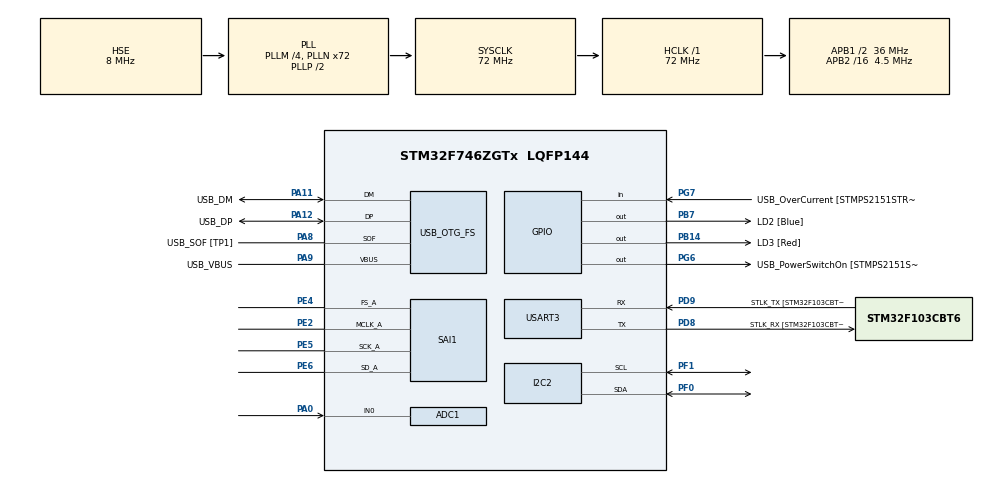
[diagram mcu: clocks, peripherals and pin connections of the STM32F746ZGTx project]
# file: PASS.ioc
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ADC1.Channel-1\#ChannelRegularConversion=ADC_CHANNEL_0
ADC1.ClockPrescaler=ADC_CLOCK_SYNC_PCLK_DIV4
ADC1.ContinuousConvMode=ENABLE
ADC1.DMAContinuousRequests=ENABLE
ADC1.NbrOfConversionFlag=1
ADC1.Rank-1\#ChannelRegularConversion=1
ADC1.SamplingTime-1\#ChannelRegularConversion=ADC_SAMPLETIME_3CYCLES
ADC1.master=1
Dma.ADC1.1.Direction=DMA_PERIPH_TO_MEMORY
Dma.ADC1.1.FIFOMode=DMA_FIFOMODE_DISABLE
Dma.ADC1.1.Instance=DMA2_Stream0
Dma.ADC1.1.MemDataAlignment=DMA_MDATAALIGN_HALFWORD
Dma.ADC1.1.MemInc=DMA_MINC_ENABLE
Dma.ADC1.1.Mode=DMA_CIRCULAR
Dma.ADC1.1.PeriphDataAlignment=DMA_PDATAALIGN_HALFWORD
Dma.ADC1.1.PeriphInc=DMA_PINC_DISABLE
Dma.ADC1.1.Priority=DMA_PRIORITY_LOW
Dma.Request0=SAI1_A
Dma.Request1=ADC1
Dma.SAI1_A.0.Direction=DMA_MEMORY_TO_PERIPH
Dma.SAI1_A.0.FIFOMode=DMA_FIFOMODE_DISABLE
Dma.SAI1_A.0.Instance=DMA2_Stream1
Dma.SAI1_A.0.MemDataAlignment=DMA_MDATAALIGN_WORD
Dma.SAI1_A.0.MemInc=DMA_MINC_ENABLE
Dma.SAI1_A.0.Mode=DMA_CIRCULAR
Dma.SAI1_A.0.PeriphDataAlignment=DMA_PDATAALIGN_WORD
Dma.SAI1_A.0.PeriphInc=DMA_PINC_DISABLE
Dma.SAI1_A.0.Priority=DMA_PRIORITY_VERY_HIGH
I2C2.Speed=20
I2C2.Timing=0x601015E9
Mcu.Family=STM32F7
Mcu.Name=STM32F746ZGTx
Mcu.Package=LQFP144
NVIC.DMA2_Stream0_IRQn=true\:0\:0\:false\:false\:true\:false\:true\:true
NVIC.DMA2_Stream1_IRQn=true\:0\:0\:false\:false\:true\:false\:true\:true
NVIC.PriorityGroup=NVIC_PRIORITYGROUP_4
NVIC.USART3_IRQn=true\:0\:0\:false\:false\:true\:true\:true\:true
PA0/WKUP.Signal=ADCx_IN0
PA10.GPIO_Label=USB_ID
PA10.Signal=USB_OTG_FS_ID
PA11.GPIO_Label=USB_DM
PA11.Mode=Device_Only
PA11.Signal=USB_OTG_FS_DM
PA12.GPIO_Label=USB_DP
PA12.Mode=Device_Only
PA12.Signal=USB_OTG_FS_DP
PA13.GPIO_Label=TMS
PA13.Mode=Serial_Wire
PA13.Signal=SYS_JTMS-SWDIO
PA14.GPIO_Label=TCK
PA14.Mode=Serial_Wire
PA14.Signal=SYS_JTCK-SWCLK
PA8.GPIO_Label=USB_SOF [TP1]
PA8.Mode=Activate_SOF_FS
PA8.Signal=USB_OTG_FS_SOF
PA9.GPIO_Label=USB_VBUS
PA9.Mode=Activate_VBUS
PA9.Signal=USB_OTG_FS_VBUS
PB13.GPIO_Label=RMII_TXD1 [LAN8742A-CZ-TR_TXD1]
PB13.Signal=ETH_TXD1
PB14.GPIO_Label=LD3 [Red]
PB14.GPIO_ModeDefaultOutputPP=GPIO_MODE_OUTPUT_OD
PB14.GPIO_PuPd=GPIO_NOPULL
PB14.Signal=GPIO_Output
PB7.GPIO_Label=LD2 [Blue]
PB7.Signal=GPIO_Output
PC14/OSC32_IN.Mode=LSE-External-Oscillator
PC14/OSC32_IN.Signal=RCC_OSC32_IN
PC15/OSC32_OUT.Mode=LSE-External-Oscillator
PC15/OSC32_OUT.Signal=RCC_OSC32_OUT
PD8.GPIO_Label=STLK_RX [STM32F103CBT6_PA3]
PD8.GPIO_PuPd=GPIO_PULLUP
PD8.Mode=Asynchronous
PD8.Signal=USART3_TX
PD9.GPIO_Label=STLK_TX [STM32F103CBT6_PA2]
PD9.GPIO_PuPd=GPIO_PULLUP
PD9.Mode=Asynchronous
PD9.Signal=USART3_RX
PE2.GPIO_Speed=GPIO_SPEED_FREQ_VERY_HIGH
PE2.Mode=SAI_A_MasterWithClock
PE2.Signal=SAI1_MCLK_A
PE4.GPIO_PuPd=GPIO_NOPULL
PE4.GPIO_Speed=GPIO_SPEED_FREQ_VERY_HIGH
PE4.Mode=SAI_A_MasterWithClock
PE4.Signal=SAI1_FS_A
PE5.GPIO_Mode=GPIO_MODE_AF_PP
PE5.GPIO_PuPd=GPIO_NOPULL
PE5.GPIO_Speed=GPIO_SPEED_FREQ_VERY_HIGH
PE5.Mode=SAI_A_MasterWithClock
PE5.Signal=SAI1_SCK_A
PE6.GPIO_PuPd=GPIO_NOPULL
PE6.GPIO_Speed=GPIO_SPEED_FREQ_VERY_HIGH
PE6.Mode=SAI_A_MasterWithClock
PE6.Signal=SAI1_SD_A
PF0.Mode=I2C
PF0.Signal=I2C2_SDA
PF1.Mode=I2C
PF1.Signal=I2C2_SCL
PG6.GPIO_Label=USB_PowerSwitchOn [STMPS2151STR_EN]
PG6.Signal=GPIO_Output
PG7.GPIO_Label=USB_OverCurrent [STMPS2151STR_FAULT]
PG7.Signal=GPIO_Input
PH0/OSC_IN.GPIO_Label=MCO [STM32F103CBT6_PA8]
PH0/OSC_IN.Mode=HSE-External-Clock-Source
PH0/OSC_IN.Signal=RCC_OSC_IN
PH1/OSC_OUT.Mode=HSE-External-Clock-Source
PH1/OSC_OUT.Signal=RCC_OSC_OUT
ProjectManager.HeapSize=0x200
ProjectManager.StackSize=0x400
ProjectManager.TargetToolchain=STM32CubeIDE
RCC.48MHZClocksFreq_Value=24000000
RCC.AHBFreq_Value=72000000
RCC.APB1CLKDivider=RCC_HCLK_DIV2
RCC.APB1Freq_Value=36000000
RCC.APB1TimFreq_Value=72000000
RCC.APB2CLKDivider=RCC_HCLK_DIV16
RCC.APB2Freq_Value=4500000
RCC.APB2TimFreq_Value=9000000
RCC.CortexFreq_Value=72000000
RCC.HCLKFreq_Value=72000000
RCC.HSE_VALUE=8000000
RCC.HSI_VALUE=16000000
RCC.PLLM=4
RCC.PLLMUL=RCC_PLL_MUL9
RCC.PLLN=72
RCC.PLLQ=3
RCC.PLLSAIN=50
RCC.PRESCALERUSB=RCC_USBCLKSOURCE_PLL_DIV1_5
RCC.SYSCLKFreq_VALUE=72000000
RCC.SYSCLKSource=RCC_SYSCLKSOURCE_PLLCLK
RCC.SYSCLKSourceVirtual=RCC_SYSCLKSOURCE_PLLCLK
RCC.USBFreq_Value=48000000
RCC.VCOOutputFreq_Value=144000000
SAI1.AudioFrequency-SAI_A_MasterWithClock=SAI_AUDIO_FREQUENCY_8K
SAI1.ClockStrobing-SAI_A_MasterWithClock=SAI_CLOCKSTROBING_RISINGEDGE
SAI1.DataSize-SAI_A_MasterWithClock=SAI_DATASIZE_16
SAI1.ErrorAudioFreq-SAI_A_MasterWithClock=1.72 %
SAI1.FSDefinition-SAI_A_MasterWithClock=SAI_FS_STARTFRAME
SAI1.FSPolarity-SAI_A_MasterWithClock=SAI_FS_ACTIVE_HIGH
SAI1.FrameLength-SAI_A_MasterWithClock=256
SAI1.Instance-SAI_A_MasterWithClock=SAI$Index_Block_A
SAI1.MClockEnable-SAI_A_MasterWithClock=SAI_MASTERCLOCK_ENABLE
SAI1.RealAudioFreq-SAI_A_MasterWithClock=8.138 KHz
SAI1.SlotActive-SAI_A_MasterWithClock=0x0000FFFF
SAI1.SlotNumber-SAI_A_MasterWithClock=16
SAI1.VirtualMode-SAI_A_MasterWithClock=VM_MASTER
SAI1.VirtualSlotActive-SAI_A_MasterWithClock=SAI_SLOTACTIVE_ALL
SH.ADCx_IN0.0=ADC1_IN0,IN0
USART3.VirtualMode-Asynchronous=VM_ASYNC
USB_OTG_FS.VirtualMode=Device_Only
board=NUCLEO-F746ZG

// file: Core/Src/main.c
/* USER CODE BEGIN Header */
/**
  ******************************************************************************
  * @file           : main.c
  * @brief          : Main program body
  ******************************************************************************
  * @attention
  *
  * Copyright (c) 2024 STMicroelectronics.
  * All rights reserved.
  *
  * This software is licensed under terms that can be found in the LICENSE file
  * in the root directory of this software component.
  * If no LICENSE file comes with this software, it is provided AS-IS.
  *
  ******************************************************************************
  */
/* USER CODE END Header */
#include "main.h"

/* USER CODE BEGIN Includes */
#include <string.h>
//#include "stm32f7xx_ll_usart.h"
//#include "stm32f7xx_hal.h"
#include "stm32f7xx_hal_uart.h"
//#include <string.h>
//#include <stdio.h>
//#include <stdlib.h>
//#include <sys/types.h>
//#include <unistd.h>
/* USER CODE END Includes */

ADC_HandleTypeDef hadc1;
DMA_HandleTypeDef hdma_adc1;

I2C_HandleTypeDef hi2c2;

SAI_HandleTypeDef hsai_BlockA1;
DMA_HandleTypeDef hdma_sai1_a;

UART_HandleTypeDef huart3;

PCD_HandleTypeDef hpcd_USB_OTG_FS;

void SystemClock_Config(void);
static void MX_GPIO_Init(void);
static void MX_DMA_Init(void);
static void MX_SAI1_Init(void);
static void MX_USB_OTG_FS_PCD_Init(void);
static void MX_I2C2_Init(void);
static void MX_USART3_UART_Init(void);
static void MX_ADC1_Init(void);

/* USER CODE BEGIN 0 */
UART_HandleTypeDef huart3;
//uint8_t receivedData; // Declare receivedData globally
char receivedData;
uint64_t counter = 0;
// Function prototypes
static void MX_USART3_UART_Init(void);
void HAL_UART_RxCpltCallback(UART_HandleTypeDef *huart);

unsigned char MSG[35] = "hello there\n";
unsigned char ERROR_MSG[50] = "*** AN ERROR OCCURRED\r\n";
uint16_t adc_get;
uint16_t sai_fifo[16];
uint16_t dma_buf;
uint32_t adc_avg;
int avg_count;

#define MAX_COMMAND_LENGTH 100

// Global variables
char commandBuffer[MAX_COMMAND_LENGTH];
int commandLength = 0;
int USB_input = 0;

//void HAL_ADC_ConvCpltCallback(ADC_HandleTypeDef* hadc)
//{
//	adc_avg += adc_get;
//	avg_count ++;
//
//}

void HAL_SAI_TxCpltCallback(SAI_HandleTypeDef *hsai) {

//  for (int i = 15; i > 0; i --)
//	  sai_fifo[i] = sai_fifo[i - 1];
//  adc_avg = (adc_avg / avg_count);
  sai_fifo[0] = (uint16_t)((short)((adc_get << 4) - (1 << 15)) >> 0) & (~0x3);
//  sai_fifo[0] = 0x7000;//(adc_get << 4) - (1 << 15);
  adc_avg = 0;
  avg_count = 0;
}

#define ADAU_ADDR 0x04
#define DAC_MUTE1 0x09
#define PLL_CLK_CTRL0 0x00
#define DAC_CTRL0 0x06

void write_register(uint8_t reg, uint8_t* data) {
	HAL_StatusTypeDef ret = HAL_I2C_Mem_Write(&hi2c2, ADAU_ADDR << 1, reg,
            1, data, 1, HAL_MAX_DELAY);

	char str_fail[100];
	char str_success[100] = "Success occured!\r\n";
	if (ret != HAL_OK) {
		sprintf(str_fail, "Error is %d", HAL_I2C_GetError(&hi2c2));
		HAL_UART_Transmit(&huart3, str_fail, strlen((char*)str_fail), HAL_MAX_DELAY);
	} else {
		HAL_UART_Transmit(&huart3, str_success, strlen((char*)str_success), HAL_MAX_DELAY);
	}

}

void HAL_UART_RxCpltCallback(UART_HandleTypeDef *huart)
{
    if (huart->Instance == USART3)  // Check which UART generated the interrupt
    {
        // Append the received character to the buffer, if it's not the newline
        // Also check if we haven't exceeded our buffer size
        if (receivedData != '\n' && commandLength < MAX_COMMAND_LENGTH - 1)
        {
            commandBuffer[commandLength++] = receivedData;
        }
        else if (receivedData == '\n')  // Received a newline character
        {
            // Ensure the string is null-terminated
            commandBuffer[commandLength] = '\0';

            // Process the command here - for now, just echo back for debugging
            if (commandLength > 0) {  // Check if there's something to process
                char response[MAX_COMMAND_LENGTH + 20];  // Allocate enough space for response message
                sprintf(response, "Received command: %s\n", commandBuffer);
                HAL_UART_Transmit(&huart3, (uint8_t*)response, strlen(response), HAL_MAX_DELAY);

                if (commandBuffer[0] == 'T' && commandLength == 1){
                	HAL_GPIO_TogglePin(GPIOB, GPIO_PIN_7);
                }
            }

            // Reset the buffer and counter for the next command
            memset(commandBuffer, 0, MAX_COMMAND_LENGTH);
            commandLength = 0;
        }

        // Prepare to receive the next character regardless
        HAL_UART_Receive_IT(&huart3, (uint8_t*)&receivedData, 1);
    }
}

/* USER CODE END 0 */

int main(void)
{

  /* MCU Configuration--------------------------------------------------------*/

  /* Reset of all peripherals, Initializes the Flash interface and the Systick. */
  HAL_Init();

  /* Configure the system clock */
  SystemClock_Config();

  /* Initialize all configured peripherals */
  MX_GPIO_Init();
  MX_DMA_Init();
  MX_SAI1_Init();
  MX_USB_OTG_FS_PCD_Init();
  MX_I2C2_Init();
  MX_USART3_UART_Init();
  MX_ADC1_Init();

  /* Infinite loop */
  /* USER CODE BEGIN WHILE */
  HAL_ADC_Start_DMA(&hadc1, &adc_get, 1);
  HAL_SAI_Transmit_DMA(&hsai_BlockA1, &sai_fifo, 16);
  sai_fifo[0] = 0x7000U;

  HAL_Delay(1000);

  char str[100] = "check\r\n";
  uint8_t mute_data = 0;	//0 is normal operation, 1 is muted
  uint8_t pll_clk_data = 0b01000001; //assert reset and pllin = 01 to use DLRCLK reference
  uint8_t dac_ctrl0 = 0b01100000;
  uint8_t pll_clk_data1 = 0b11000000;
  uint8_t dac_ctl1 = 0b10000;

  HAL_UART_Transmit(&huart3, str, strlen((char*)str), HAL_MAX_DELAY);

  write_register(PLL_CLK_CTRL0, &pll_clk_data);
  write_register(DAC_MUTE1, &mute_data);
  write_register(DAC_CTRL0, &dac_ctrl0);
  write_register(0x07, &pll_clk_data1);
  write_register(0x08, &dac_ctl1);

  char str2[100] = "check2\r\n";
  HAL_UART_Transmit(&huart3, str2, strlen((char*)str2), HAL_MAX_DELAY);

  //HAL_GPIO_TogglePin(GPIOB, GPIO_PIN_7);
  //uint64_t counter = 0;
  //uint64_t counter2 = 0;

  char str3[100] = "*** DEBUGGING MESSAGE 1234567890 !!!\r\n";
  //HAL_UART_Transmit(&huart3, str3, strlen((char*)str3), HAL_MAX_DELAY);

  //uint8_t receivedData; // Make sure this is accessible in the scope you need
  HAL_UART_Receive_IT(&huart3, &receivedData, 1); // Start reception with interrupt
  while (1)
  {

    /* USER CODE END WHILE */

  }
}

void SystemClock_Config(void)
{
  RCC_OscInitTypeDef RCC_OscInitStruct = {0};
  RCC_ClkInitTypeDef RCC_ClkInitStruct = {0};

  /** Configure LSE Drive Capability
  */
  HAL_PWR_EnableBkUpAccess();

  /** Configure the main internal regulator output voltage
  */
  __HAL_RCC_PWR_CLK_ENABLE();
  __HAL_PWR_VOLTAGESCALING_CONFIG(PWR_REGULATOR_VOLTAGE_SCALE3);

  /** Initializes the RCC Oscillators according to the specified parameters
  * in the RCC_OscInitTypeDef structure.
  */
  RCC_OscInitStruct.OscillatorType = RCC_OSCILLATORTYPE_HSE;
  RCC_OscInitStruct.HSEState = RCC_HSE_BYPASS;
  RCC_OscInitStruct.PLL.PLLState = RCC_PLL_ON;
  RCC_OscInitStruct.PLL.PLLSource = RCC_PLLSOURCE_HSE;
  RCC_OscInitStruct.PLL.PLLM = 4;
  RCC_OscInitStruct.PLL.PLLN = 72;
  RCC_OscInitStruct.PLL.PLLP = RCC_PLLP_DIV2;
  RCC_OscInitStruct.PLL.PLLQ = 3;
  if (HAL_RCC_OscConfig(&RCC_OscInitStruct) != HAL_OK)
  {
    Error_Handler();
  }

  /** Initializes the CPU, AHB and APB buses clocks
  */
  RCC_ClkInitStruct.ClockType = RCC_CLOCKTYPE_HCLK|RCC_CLOCKTYPE_SYSCLK
                              |RCC_CLOCKTYPE_PCLK1|RCC_CLOCKTYPE_PCLK2;
  RCC_ClkInitStruct.SYSCLKSource = RCC_SYSCLKSOURCE_PLLCLK;
  RCC_ClkInitStruct.AHBCLKDivider = RCC_SYSCLK_DIV1;
  RCC_ClkInitStruct.APB1CLKDivider = RCC_HCLK_DIV2;
  RCC_ClkInitStruct.APB2CLKDivider = RCC_HCLK_DIV16;

  if (HAL_RCC_ClockConfig(&RCC_ClkInitStruct, FLASH_LATENCY_2) != HAL_OK)
  {
    Error_Handler();
  }
}

static void MX_ADC1_Init(void)
{

  ADC_ChannelConfTypeDef sConfig = {0};

  /** Configure the global features of the ADC (Clock, Resolution, Data Alignment and number of conversion)
  */
  hadc1.Instance = ADC1;
  hadc1.Init.ClockPrescaler = ADC_CLOCK_SYNC_PCLK_DIV4;
  hadc1.Init.Resolution = ADC_RESOLUTION_12B;
  hadc1.Init.ScanConvMode = ADC_SCAN_DISABLE;
  hadc1.Init.ContinuousConvMode = ENABLE;
  hadc1.Init.DiscontinuousConvMode = DISABLE;
  hadc1.Init.ExternalTrigConvEdge = ADC_EXTERNALTRIGCONVEDGE_NONE;
  hadc1.Init.ExternalTrigConv = ADC_SOFTWARE_START;
  hadc1.Init.DataAlign = ADC_DATAALIGN_RIGHT;
  hadc1.Init.NbrOfConversion = 1;
  hadc1.Init.DMAContinuousRequests = ENABLE;
  hadc1.Init.EOCSelection = ADC_EOC_SINGLE_CONV;
  if (HAL_ADC_Init(&hadc1) != HAL_OK)
  {
    Error_Handler();
  }

  /** Configure for the selected ADC regular channel its corresponding rank in the sequencer and its sample time.
  */
  sConfig.Channel = ADC_CHANNEL_0;
  sConfig.Rank = ADC_REGULAR_RANK_1;
  sConfig.SamplingTime = ADC_SAMPLETIME_3CYCLES;
  if (HAL_ADC_ConfigChannel(&hadc1, &sConfig) != HAL_OK)
  {
    Error_Handler();
  }

}

static void MX_I2C2_Init(void)
{

  hi2c2.Instance = I2C2;
  hi2c2.Init.Timing = 0x601015E9;
  hi2c2.Init.OwnAddress1 = 0;
  hi2c2.Init.AddressingMode = I2C_ADDRESSINGMODE_7BIT;
  hi2c2.Init.DualAddressMode = I2C_DUALADDRESS_DISABLE;
  hi2c2.Init.OwnAddress2 = 0;
  hi2c2.Init.OwnAddress2Masks = I2C_OA2_NOMASK;
  hi2c2.Init.GeneralCallMode = I2C_GENERALCALL_DISABLE;
  hi2c2.Init.NoStretchMode = I2C_NOSTRETCH_DISABLE;
  if (HAL_I2C_Init(&hi2c2) != HAL_OK)
  {
    Error_Handler();
  }

  /** Configure Analogue filter
  */
  if (HAL_I2CEx_ConfigAnalogFilter(&hi2c2, I2C_ANALOGFILTER_ENABLE) != HAL_OK)
  {
    Error_Handler();
  }

  /** Configure Digital filter
  */
  if (HAL_I2CEx_ConfigDigitalFilter(&hi2c2, 0) != HAL_OK)
  {
    Error_Handler();
  }

}

static void MX_SAI1_Init(void)
{

  hsai_BlockA1.Instance = SAI1_Block_A;
  hsai_BlockA1.Init.Protocol = SAI_FREE_PROTOCOL;
  hsai_BlockA1.Init.AudioMode = SAI_MODEMASTER_TX;
  hsai_BlockA1.Init.DataSize = SAI_DATASIZE_16;
  hsai_BlockA1.Init.FirstBit = SAI_FIRSTBIT_MSB;
  hsai_BlockA1.Init.ClockStrobing = SAI_CLOCKSTROBING_RISINGEDGE;
  hsai_BlockA1.Init.Synchro = SAI_ASYNCHRONOUS;
  hsai_BlockA1.Init.OutputDrive = SAI_OUTPUTDRIVE_DISABLE;
  hsai_BlockA1.Init.NoDivider = SAI_MASTERDIVIDER_ENABLE;
  hsai_BlockA1.Init.FIFOThreshold = SAI_FIFOTHRESHOLD_EMPTY;
  hsai_BlockA1.Init.AudioFrequency = SAI_AUDIO_FREQUENCY_8K;
  hsai_BlockA1.Init.SynchroExt = SAI_SYNCEXT_DISABLE;
  hsai_BlockA1.Init.MonoStereoMode = SAI_STEREOMODE;
  hsai_BlockA1.Init.CompandingMode = SAI_NOCOMPANDING;
  hsai_BlockA1.Init.TriState = SAI_OUTPUT_NOTRELEASED;
  hsai_BlockA1.FrameInit.FrameLength = 256;
  hsai_BlockA1.FrameInit.ActiveFrameLength = 1;
  hsai_BlockA1.FrameInit.FSDefinition = SAI_FS_STARTFRAME;
  hsai_BlockA1.FrameInit.FSPolarity = SAI_FS_ACTIVE_HIGH;
  hsai_BlockA1.FrameInit.FSOffset = SAI_FS_FIRSTBIT;
  hsai_BlockA1.SlotInit.FirstBitOffset = 0;
  hsai_BlockA1.SlotInit.SlotSize = SAI_SLOTSIZE_DATASIZE;
  hsai_BlockA1.SlotInit.SlotNumber = 16;
  hsai_BlockA1.SlotInit.SlotActive = 0x0000FFFF;
  if (HAL_SAI_Init(&hsai_BlockA1) != HAL_OK)
  {
    Error_Handler();
  }

}

static void MX_USART3_UART_Init(void)
{

  huart3.Instance = USART3;
  huart3.Init.BaudRate = 115200;
  huart3.Init.WordLength = UART_WORDLENGTH_8B;
  huart3.Init.StopBits = UART_STOPBITS_1;
  huart3.Init.Parity = UART_PARITY_NONE;
  huart3.Init.Mode = UART_MODE_TX_RX;
  huart3.Init.HwFlowCtl = UART_HWCONTROL_NONE;
  huart3.Init.OverSampling = UART_OVERSAMPLING_16;
  huart3.Init.OneBitSampling = UART_ONE_BIT_SAMPLE_DISABLE;
  huart3.AdvancedInit.AdvFeatureInit = UART_ADVFEATURE_NO_INIT;
  if (HAL_UART_Init(&huart3) != HAL_OK)
  {
    Error_Handler();
  }

}

static void MX_USB_OTG_FS_PCD_Init(void)
{

  hpcd_USB_OTG_FS.Instance = USB_OTG_FS;
  hpcd_USB_OTG_FS.Init.dev_endpoints = 6;
  hpcd_USB_OTG_FS.Init.speed = PCD_SPEED_FULL;
  hpcd_USB_OTG_FS.Init.dma_enable = DISABLE;
  hpcd_USB_OTG_FS.Init.phy_itface = PCD_PHY_EMBEDDED;
  hpcd_USB_OTG_FS.Init.Sof_enable = ENABLE;
  hpcd_USB_OTG_FS.Init.low_power_enable = DISABLE;
  hpcd_USB_OTG_FS.Init.lpm_enable = DISABLE;
  hpcd_USB_OTG_FS.Init.vbus_sensing_enable = ENABLE;
  hpcd_USB_OTG_FS.Init.use_dedicated_ep1 = DISABLE;
  if (HAL_PCD_Init(&hpcd_USB_OTG_FS) != HAL_OK)
  {
    Error_Handler();
  }

}

static void MX_DMA_Init(void)
{

  /* DMA controller clock enable */
  __HAL_RCC_DMA2_CLK_ENABLE();

  /* DMA interrupt init */
  /* DMA2_Stream0_IRQn interrupt configuration */
  HAL_NVIC_SetPriority(DMA2_Stream0_IRQn, 0, 0);
  HAL_NVIC_EnableIRQ(DMA2_Stream0_IRQn);
  /* DMA2_Stream1_IRQn interrupt configuration */
  HAL_NVIC_SetPriority(DMA2_Stream1_IRQn, 0, 0);
  HAL_NVIC_EnableIRQ(DMA2_Stream1_IRQn);

}

static void MX_GPIO_Init(void)
{
  GPIO_InitTypeDef GPIO_InitStruct = {0};

  /* GPIO Ports Clock Enable */
  __HAL_RCC_GPIOE_CLK_ENABLE();
  __HAL_RCC_GPIOC_CLK_ENABLE();
  __HAL_RCC_GPIOF_CLK_ENABLE();
  __HAL_RCC_GPIOH_CLK_ENABLE();
  __HAL_RCC_GPIOA_CLK_ENABLE();
  __HAL_RCC_GPIOB_CLK_ENABLE();
  __HAL_RCC_GPIOD_CLK_ENABLE();
  __HAL_RCC_GPIOG_CLK_ENABLE();

  /*Configure GPIO pin Output Level */
  HAL_GPIO_WritePin(GPIOB, LD3_Pin|LD2_Pin, GPIO_PIN_RESET);

  /*Configure GPIO pin Output Level */
  HAL_GPIO_WritePin(USB_PowerSwitchOn_GPIO_Port, USB_PowerSwitchOn_Pin, GPIO_PIN_RESET);

  /*Configure GPIO pin : RMII_TXD1_Pin */
  GPIO_InitStruct.Pin = RMII_TXD1_Pin;
  GPIO_InitStruct.Mode = GPIO_MODE_AF_PP;
  GPIO_InitStruct.Pull = GPIO_NOPULL;
  GPIO_InitStruct.Speed = GPIO_SPEED_FREQ_VERY_HIGH;
  GPIO_InitStruct.Alternate = GPIO_AF11_ETH;
  HAL_GPIO_Init(RMII_TXD1_GPIO_Port, &GPIO_InitStruct);

  /*Configure GPIO pin : LD3_Pin */
  GPIO_InitStruct.Pin = LD3_Pin;
  GPIO_InitStruct.Mode = GPIO_MODE_OUTPUT_OD;
  GPIO_InitStruct.Pull = GPIO_NOPULL;
  GPIO_InitStruct.Speed = GPIO_SPEED_FREQ_LOW;
  HAL_GPIO_Init(LD3_GPIO_Port, &GPIO_InitStruct);

  /*Configure GPIO pin : USB_PowerSwitchOn_Pin */
  GPIO_InitStruct.Pin = USB_PowerSwitchOn_Pin;
  GPIO_InitStruct.Mode = GPIO_MODE_OUTPUT_PP;
  GPIO_InitStruct.Pull = GPIO_NOPULL;
  GPIO_InitStruct.Speed = GPIO_SPEED_FREQ_LOW;
  HAL_GPIO_Init(USB_PowerSwitchOn_GPIO_Port, &GPIO_InitStruct);

  /*Configure GPIO pin : USB_OverCurrent_Pin */
  GPIO_InitStruct.Pin = USB_OverCurrent_Pin;
  GPIO_InitStruct.Mode = GPIO_MODE_INPUT;
  GPIO_InitStruct.Pull = GPIO_NOPULL;
  HAL_GPIO_Init(USB_OverCurrent_GPIO_Port, &GPIO_InitStruct);

  /*Configure GPIO pin : LD2_Pin */
  GPIO_InitStruct.Pin = LD2_Pin;
  GPIO_InitStruct.Mode = GPIO_MODE_OUTPUT_PP;
  GPIO_InitStruct.Pull = GPIO_NOPULL;
  GPIO_InitStruct.Speed = GPIO_SPEED_FREQ_LOW;
  HAL_GPIO_Init(LD2_GPIO_Port, &GPIO_InitStruct);

}

void Error_Handler(void)
{
  /* USER CODE BEGIN Error_Handler_Debug */
  /* User can add his own implementation to report the HAL error return state */
  __disable_irq();
  char str[100] = "Error handler!\r\n";
  HAL_UART_Transmit(&huart3, str, strlen((char*)str), HAL_MAX_DELAY);

  while (1)
  {
  }
  /* USER CODE END Error_Handler_Debug */
}
